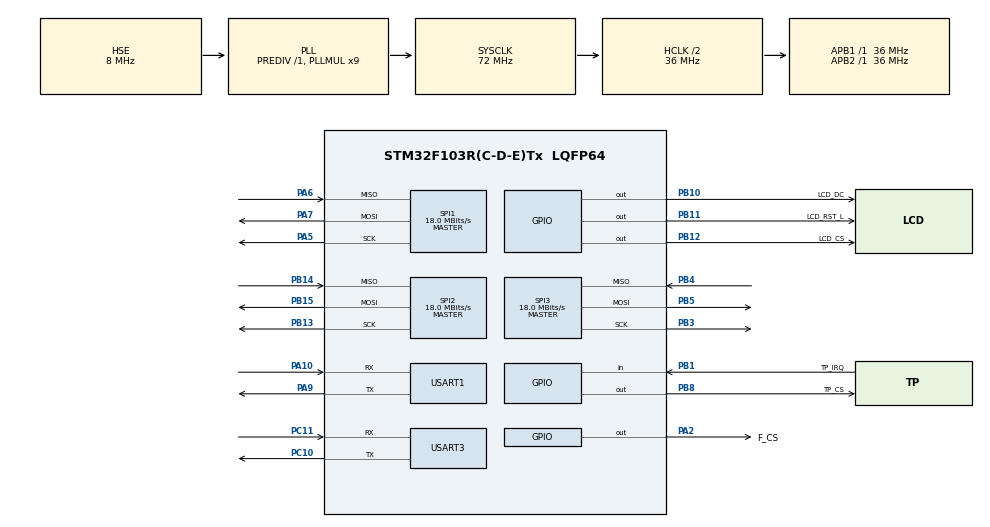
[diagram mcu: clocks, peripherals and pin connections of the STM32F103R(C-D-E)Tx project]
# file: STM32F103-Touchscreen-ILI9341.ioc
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Dma.Request0=SPI2_TX
Dma.SPI2_TX.0.Direction=DMA_MEMORY_TO_PERIPH
Dma.SPI2_TX.0.Instance=DMA1_Channel5
Dma.SPI2_TX.0.MemDataAlignment=DMA_MDATAALIGN_BYTE
Dma.SPI2_TX.0.MemInc=DMA_MINC_ENABLE
Dma.SPI2_TX.0.Mode=DMA_NORMAL
Dma.SPI2_TX.0.PeriphDataAlignment=DMA_PDATAALIGN_BYTE
Dma.SPI2_TX.0.PeriphInc=DMA_PINC_DISABLE
Dma.SPI2_TX.0.Priority=DMA_PRIORITY_LOW
Mcu.Family=STM32F1
Mcu.Name=STM32F103R(C-D-E)Tx
Mcu.Package=LQFP64
NVIC.DMA1_Channel5_IRQn=true\:0\:0\:false\:false\:true\:false\:true\:true
NVIC.PriorityGroup=NVIC_PRIORITYGROUP_4
NVIC.SPI1_IRQn=true\:0\:0\:false\:false\:true\:true\:true\:true
NVIC.SPI2_IRQn=true\:0\:0\:false\:false\:true\:true\:true\:true
NVIC.SPI3_IRQn=true\:0\:0\:false\:false\:true\:true\:true\:true
NVIC.USART1_IRQn=true\:0\:0\:false\:false\:true\:true\:true\:true
PA10.Mode=Asynchronous
PA10.Signal=USART1_RX
PA13.Mode=Serial_Wire
PA13.Signal=SYS_JTMS-SWDIO
PA14.Mode=Serial_Wire
PA14.Signal=SYS_JTCK-SWCLK
PA2.GPIO_Label=F_CS
PA2.GPIO_Speed=GPIO_SPEED_FREQ_HIGH
PA2.Signal=GPIO_Output
PA5.Mode=Full_Duplex_Master
PA5.Signal=SPI1_SCK
PA6.Mode=Full_Duplex_Master
PA6.Signal=SPI1_MISO
PA7.Mode=Full_Duplex_Master
PA7.Signal=SPI1_MOSI
PA9.Mode=Asynchronous
PA9.Signal=USART1_TX
PB1.GPIO_Label=TP_IRQ
PB1.Signal=GPIO_Input
PB10.GPIO_Label=LCD_DC
PB10.GPIO_Speed=GPIO_SPEED_FREQ_HIGH
PB10.Signal=GPIO_Output
PB11.GPIO_Label=LCD_RST_L
PB11.GPIO_Speed=GPIO_SPEED_FREQ_HIGH
PB11.Signal=GPIO_Output
PB12.GPIO_Label=LCD_CS
PB12.GPIO_Speed=GPIO_SPEED_FREQ_HIGH
PB12.Signal=GPIO_Output
PB13.Mode=Full_Duplex_Master
PB13.Signal=SPI2_SCK
PB14.Mode=Full_Duplex_Master
PB14.Signal=SPI2_MISO
PB15.Mode=Full_Duplex_Master
PB15.Signal=SPI2_MOSI
PB3.Mode=Full_Duplex_Master
PB3.Signal=SPI3_SCK
PB4.Mode=Full_Duplex_Master
PB4.Signal=SPI3_MISO
PB5.Mode=Full_Duplex_Master
PB5.Signal=SPI3_MOSI
PB8.GPIO_Label=TP_CS
PB8.GPIO_Speed=GPIO_SPEED_FREQ_LOW
PB8.Signal=GPIO_Output
PC10.Mode=Asynchronous
PC10.Signal=USART3_TX
PC11.Mode=Asynchronous
PC11.Signal=USART3_RX
PC14-OSC32_IN.Mode=LSE-External-Oscillator
PC14-OSC32_IN.Signal=RCC_OSC32_IN
PC15-OSC32_OUT.Mode=LSE-External-Oscillator
PC15-OSC32_OUT.Signal=RCC_OSC32_OUT
PD0-OSC_IN.Mode=HSE-External-Oscillator
PD0-OSC_IN.Signal=RCC_OSC_IN
PD1-OSC_OUT.Mode=HSE-External-Oscillator
PD1-OSC_OUT.Signal=RCC_OSC_OUT
ProjectManager.HeapSize=0x200
ProjectManager.StackSize=0x400
ProjectManager.TargetToolchain=STM32CubeIDE
RCC.AHBCLKDivider=RCC_SYSCLK_DIV2
RCC.AHBFreq_Value=36000000
RCC.APB1Freq_Value=36000000
RCC.APB1TimFreq_Value=36000000
RCC.APB2Freq_Value=36000000
RCC.APB2TimFreq_Value=36000000
RCC.HCLKFreq_Value=36000000
RCC.PLLMUL=RCC_PLL_MUL9
RCC.PLLSourceVirtual=RCC_PLLSOURCE_HSE
RCC.SYSCLKFreq_VALUE=72000000
RCC.SYSCLKSource=RCC_SYSCLKSOURCE_PLLCLK
RCC.USBFreq_Value=72000000
SPI1.BaudRatePrescaler=SPI_BAUDRATEPRESCALER_2
SPI1.CalculateBaudRate=18.0 MBits/s
SPI1.Direction=SPI_DIRECTION_2LINES
SPI1.Mode=SPI_MODE_MASTER
SPI1.VirtualType=VM_MASTER
SPI2.BaudRatePrescaler=SPI_BAUDRATEPRESCALER_2
SPI2.CalculateBaudRate=18.0 MBits/s
SPI2.Direction=SPI_DIRECTION_2LINES
SPI2.Mode=SPI_MODE_MASTER
SPI2.VirtualType=VM_MASTER
SPI3.BaudRatePrescaler=SPI_BAUDRATEPRESCALER_2
SPI3.CalculateBaudRate=18.0 MBits/s
SPI3.Direction=SPI_DIRECTION_2LINES
SPI3.Mode=SPI_MODE_MASTER
SPI3.VirtualType=VM_MASTER
USART1.VirtualMode=VM_ASYNC
USART3.VirtualMode=VM_ASYNC
board=custom

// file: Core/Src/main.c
/* USER CODE BEGIN Header */
/**
  ******************************************************************************
  * @file           : main.c
  * @brief          : Main program body
  ******************************************************************************
  * @attention
  *
  * Copyright (c) 2025 STMicroelectronics.
  * All rights reserved.
  *
  * This software is licensed under terms that can be found in the LICENSE file
  * in the root directory of this software component.
  * If no LICENSE file comes with this software, it is provided AS-IS.
  *
  ******************************************************************************
  */
/* USER CODE END Header */
#include "main.h"

/* USER CODE BEGIN Includes */
#include "artok_runtime.h"
#include "hmi_drivers.h"
#include "hmi_lcd.h"
#include "flasher.h"

#include <stdbool.h>
#include <stdio.h>
#include <unistd.h>
#include "w25qxx.h"
/* USER CODE END Includes */

/* USER CODE BEGIN PD */
#define UI_BINARY_FLASH_ADDRESS 0x00000000
/* USER CODE END PD */

SPI_HandleTypeDef hspi1;
SPI_HandleTypeDef hspi2;
SPI_HandleTypeDef hspi3;
DMA_HandleTypeDef hdma_spi2_tx;

UART_HandleTypeDef huart1;
UART_HandleTypeDef huart3;

void SystemClock_Config(void);
static void MX_GPIO_Init(void);
static void MX_DMA_Init(void);
static void MX_SPI1_Init(void);
static void MX_SPI2_Init(void);
static void MX_SPI3_Init(void);
static void MX_USART1_UART_Init(void);
static void MX_USART3_UART_Init(void);

int main(void)
{

  /* MCU Configuration--------------------------------------------------------*/

  /* Reset of all peripherals, Initializes the Flash interface and the Systick. */
  HAL_Init();

  /* Configure the system clock */
  SystemClock_Config();

  /* Initialize all configured peripherals */
  MX_GPIO_Init();
  MX_DMA_Init();
  MX_SPI1_Init();
  MX_SPI2_Init();
  MX_SPI3_Init();
  MX_USART1_UART_Init();
  MX_USART3_UART_Init();

  /* USER CODE BEGIN 2 */
  Flasher_Setup();
  HMI_Hardware_Interface_t *hardware_interface = hmi_drivers_init();

  // Initialize and start the Artok-Runtime
  if (ART_StartHMI(UI_BINARY_FLASH_ADDRESS, hardware_interface)) {
      printf("Artok-Runtime initialized successfully.\n");
  } else {
      printf("Failed to initialize Artok-Runtime.\n");
      Error_Handler();
  }
  /* USER CODE END 2 */

  /* Infinite loop */
  /* USER CODE BEGIN WHILE */
  while (1)
  {
	  Flasher_Run();
	  ART_MainLoop();
    /* USER CODE END WHILE */

  }
}

void SystemClock_Config(void)
{
  RCC_OscInitTypeDef RCC_OscInitStruct = {0};
  RCC_ClkInitTypeDef RCC_ClkInitStruct = {0};

  /** Initializes the RCC Oscillators according to the specified parameters
  * in the RCC_OscInitTypeDef structure.
  */
  RCC_OscInitStruct.OscillatorType = RCC_OSCILLATORTYPE_HSE;
  RCC_OscInitStruct.HSEState = RCC_HSE_ON;
  RCC_OscInitStruct.HSEPredivValue = RCC_HSE_PREDIV_DIV1;
  RCC_OscInitStruct.HSIState = RCC_HSI_ON;
  RCC_OscInitStruct.PLL.PLLState = RCC_PLL_ON;
  RCC_OscInitStruct.PLL.PLLSource = RCC_PLLSOURCE_HSE;
  RCC_OscInitStruct.PLL.PLLMUL = RCC_PLL_MUL9;
  if (HAL_RCC_OscConfig(&RCC_OscInitStruct) != HAL_OK)
  {
    Error_Handler();
  }

  /** Initializes the CPU, AHB and APB buses clocks
  */
  RCC_ClkInitStruct.ClockType = RCC_CLOCKTYPE_HCLK|RCC_CLOCKTYPE_SYSCLK
                              |RCC_CLOCKTYPE_PCLK1|RCC_CLOCKTYPE_PCLK2;
  RCC_ClkInitStruct.SYSCLKSource = RCC_SYSCLKSOURCE_PLLCLK;
  RCC_ClkInitStruct.AHBCLKDivider = RCC_SYSCLK_DIV2;
  RCC_ClkInitStruct.APB1CLKDivider = RCC_HCLK_DIV1;
  RCC_ClkInitStruct.APB2CLKDivider = RCC_HCLK_DIV1;

  if (HAL_RCC_ClockConfig(&RCC_ClkInitStruct, FLASH_LATENCY_2) != HAL_OK)
  {
    Error_Handler();
  }
}

static void MX_SPI1_Init(void)
{

  /* SPI1 parameter configuration*/
  hspi1.Instance = SPI1;
  hspi1.Init.Mode = SPI_MODE_MASTER;
  hspi1.Init.Direction = SPI_DIRECTION_2LINES;
  hspi1.Init.DataSize = SPI_DATASIZE_8BIT;
  hspi1.Init.CLKPolarity = SPI_POLARITY_LOW;
  hspi1.Init.CLKPhase = SPI_PHASE_1EDGE;
  hspi1.Init.NSS = SPI_NSS_SOFT;
  hspi1.Init.BaudRatePrescaler = SPI_BAUDRATEPRESCALER_2;
  hspi1.Init.FirstBit = SPI_FIRSTBIT_MSB;
  hspi1.Init.TIMode = SPI_TIMODE_DISABLE;
  hspi1.Init.CRCCalculation = SPI_CRCCALCULATION_DISABLE;
  hspi1.Init.CRCPolynomial = 10;
  if (HAL_SPI_Init(&hspi1) != HAL_OK)
  {
    Error_Handler();
  }

}

static void MX_SPI2_Init(void)
{

  /* SPI2 parameter configuration*/
  hspi2.Instance = SPI2;
  hspi2.Init.Mode = SPI_MODE_MASTER;
  hspi2.Init.Direction = SPI_DIRECTION_2LINES;
  hspi2.Init.DataSize = SPI_DATASIZE_8BIT;
  hspi2.Init.CLKPolarity = SPI_POLARITY_LOW;
  hspi2.Init.CLKPhase = SPI_PHASE_1EDGE;
  hspi2.Init.NSS = SPI_NSS_SOFT;
  hspi2.Init.BaudRatePrescaler = SPI_BAUDRATEPRESCALER_2;
  hspi2.Init.FirstBit = SPI_FIRSTBIT_MSB;
  hspi2.Init.TIMode = SPI_TIMODE_DISABLE;
  hspi2.Init.CRCCalculation = SPI_CRCCALCULATION_DISABLE;
  hspi2.Init.CRCPolynomial = 10;
  if (HAL_SPI_Init(&hspi2) != HAL_OK)
  {
    Error_Handler();
  }

}

static void MX_SPI3_Init(void)
{

  /* SPI3 parameter configuration*/
  hspi3.Instance = SPI3;
  hspi3.Init.Mode = SPI_MODE_MASTER;
  hspi3.Init.Direction = SPI_DIRECTION_2LINES;
  hspi3.Init.DataSize = SPI_DATASIZE_8BIT;
  hspi3.Init.CLKPolarity = SPI_POLARITY_LOW;
  hspi3.Init.CLKPhase = SPI_PHASE_1EDGE;
  hspi3.Init.NSS = SPI_NSS_SOFT;
  hspi3.Init.BaudRatePrescaler = SPI_BAUDRATEPRESCALER_2;
  hspi3.Init.FirstBit = SPI_FIRSTBIT_MSB;
  hspi3.Init.TIMode = SPI_TIMODE_DISABLE;
  hspi3.Init.CRCCalculation = SPI_CRCCALCULATION_DISABLE;
  hspi3.Init.CRCPolynomial = 10;
  if (HAL_SPI_Init(&hspi3) != HAL_OK)
  {
    Error_Handler();
  }

}

static void MX_USART1_UART_Init(void)
{

  huart1.Instance = USART1;
  huart1.Init.BaudRate = 115200;
  huart1.Init.WordLength = UART_WORDLENGTH_8B;
  huart1.Init.StopBits = UART_STOPBITS_1;
  huart1.Init.Parity = UART_PARITY_NONE;
  huart1.Init.Mode = UART_MODE_TX_RX;
  huart1.Init.HwFlowCtl = UART_HWCONTROL_NONE;
  huart1.Init.OverSampling = UART_OVERSAMPLING_16;
  if (HAL_UART_Init(&huart1) != HAL_OK)
  {
    Error_Handler();
  }

}

static void MX_USART3_UART_Init(void)
{

  huart3.Instance = USART3;
  huart3.Init.BaudRate = 115200;
  huart3.Init.WordLength = UART_WORDLENGTH_8B;
  huart3.Init.StopBits = UART_STOPBITS_1;
  huart3.Init.Parity = UART_PARITY_NONE;
  huart3.Init.Mode = UART_MODE_TX_RX;
  huart3.Init.HwFlowCtl = UART_HWCONTROL_NONE;
  huart3.Init.OverSampling = UART_OVERSAMPLING_16;
  if (HAL_UART_Init(&huart3) != HAL_OK)
  {
    Error_Handler();
  }

}

static void MX_DMA_Init(void)
{

  /* DMA controller clock enable */
  __HAL_RCC_DMA1_CLK_ENABLE();

  /* DMA interrupt init */
  /* DMA1_Channel5_IRQn interrupt configuration */
  HAL_NVIC_SetPriority(DMA1_Channel5_IRQn, 0, 0);
  HAL_NVIC_EnableIRQ(DMA1_Channel5_IRQn);

}

static void MX_GPIO_Init(void)
{
  GPIO_InitTypeDef GPIO_InitStruct = {0};
/* USER CODE BEGIN MX_GPIO_Init_1 */
  /* Ensure the AFIO clock is enabled first */
  __HAL_RCC_AFIO_CLK_ENABLE();
/* USER CODE END MX_GPIO_Init_1 */

  /* GPIO Ports Clock Enable */
  __HAL_RCC_GPIOC_CLK_ENABLE();
  __HAL_RCC_GPIOD_CLK_ENABLE();
  __HAL_RCC_GPIOA_CLK_ENABLE();
  __HAL_RCC_GPIOB_CLK_ENABLE();

  /*Configure GPIO pin Output Level */
  HAL_GPIO_WritePin(F_CS_GPIO_Port, F_CS_Pin, GPIO_PIN_RESET);

  /*Configure GPIO pin Output Level */
  HAL_GPIO_WritePin(GPIOB, LCD_DC_Pin|LCD_RST_L_Pin|LCD_CS_Pin|TP_CS_Pin, GPIO_PIN_RESET);

  /*Configure GPIO pin : F_CS_Pin */
  GPIO_InitStruct.Pin = F_CS_Pin;
  GPIO_InitStruct.Mode = GPIO_MODE_OUTPUT_PP;
  GPIO_InitStruct.Pull = GPIO_NOPULL;
  GPIO_InitStruct.Speed = GPIO_SPEED_FREQ_HIGH;
  HAL_GPIO_Init(F_CS_GPIO_Port, &GPIO_InitStruct);

  /*Configure GPIO pin : TP_IRQ_Pin */
  GPIO_InitStruct.Pin = TP_IRQ_Pin;
  GPIO_InitStruct.Mode = GPIO_MODE_INPUT;
  GPIO_InitStruct.Pull = GPIO_NOPULL;
  HAL_GPIO_Init(TP_IRQ_GPIO_Port, &GPIO_InitStruct);

  /*Configure GPIO pins : LCD_DC_Pin LCD_RST_L_Pin LCD_CS_Pin */
  GPIO_InitStruct.Pin = LCD_DC_Pin|LCD_RST_L_Pin|LCD_CS_Pin;
  GPIO_InitStruct.Mode = GPIO_MODE_OUTPUT_PP;
  GPIO_InitStruct.Pull = GPIO_NOPULL;
  GPIO_InitStruct.Speed = GPIO_SPEED_FREQ_HIGH;
  HAL_GPIO_Init(GPIOB, &GPIO_InitStruct);

  /*Configure GPIO pin : TP_CS_Pin */
  GPIO_InitStruct.Pin = TP_CS_Pin;
  GPIO_InitStruct.Mode = GPIO_MODE_OUTPUT_PP;
  GPIO_InitStruct.Pull = GPIO_NOPULL;
  GPIO_InitStruct.Speed = GPIO_SPEED_FREQ_LOW;
  HAL_GPIO_Init(TP_CS_GPIO_Port, &GPIO_InitStruct);

}

void Error_Handler(void)
{
  /* USER CODE BEGIN Error_Handler_Debug */
  /* User can add his own implementation to report the HAL error return state */
//  __disable_irq();
//  while (1)
//  {
//  }
  /* USER CODE END Error_Handler_Debug */
}
